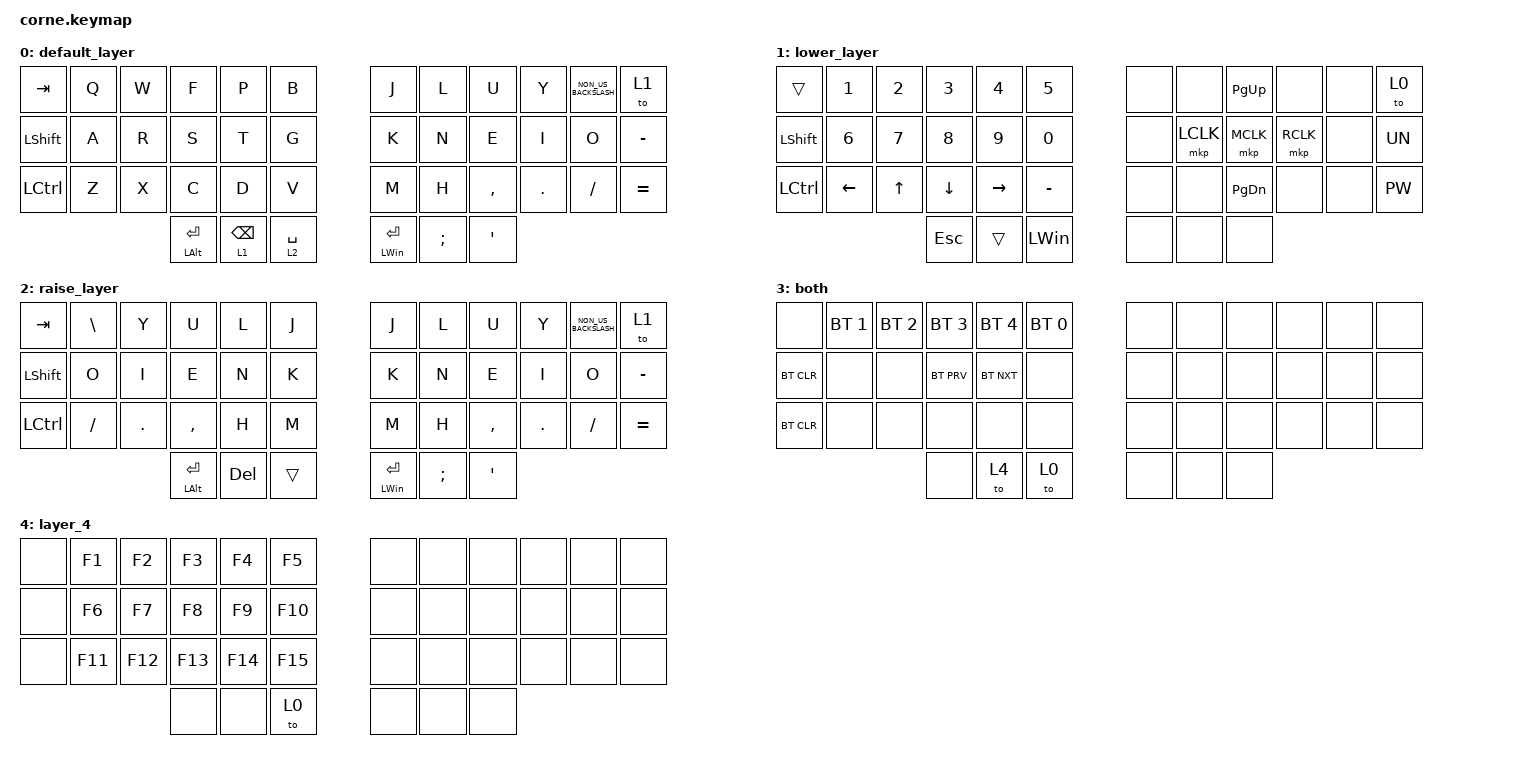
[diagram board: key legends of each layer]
/*
 * Copyright (c) 2020 The ZMK Contributors
 *
 * SPDX-License-Identifier: MIT
 */

#include <dt-bindings/zmk/mouse.h>
#include <behaviors.dtsi>
#include <dt-bindings/zmk/bt.h>
#include <dt-bindings/zmk/keys.h>
#include <dt-bindings/zmk/pointing.h>

/ {
    combos {
        compatible = "zmk,combos";

        both {
            bindings = <&tog 3>;
            key-positions = <38 0 5>;
        };

        semicolon {
            bindings = <&kp SEMI>;
            key-positions = <3 4 2>;
        };

        apro {
            bindings = <&kp APOS>;
            key-positions = <4 3 5>;
        };

        alt_tab {
            bindings = <&kp LA(TAB)>;
            key-positions = <14 15 16>;
        };

        p {
            bindings = <&p>;
            key-positions = <13 15 14>;
        };

        pw {
            bindings = <&PW>;
            key-positions = <25 26 27>;
        };

        adh {
            bindings = <&kp LG(L)>;
            key-positions = <26 27 28>;
        };

        QC_Check {
            bindings = <&QC>;
            key-positions = <1 2 3>;
        };

        esc {
            bindings = <&kp ESCAPE>;
            key-positions = <1 2 0>;
        };

        equals {
            bindings = <&kp EQUAL>;
            key-positions = <15 16 17>;
        };

        un {
            bindings = <&UN>;
            key-positions = <25 26 24>;
        };
    };

    macros {
        UN: UN {
            compatible = "zmk,behavior-macro";
            #binding-cells = <0>;
            bindings = <&kp A &kp N5 &kp N7 &kp N0 &kp N5 &kp N8 &kp N6>;
        };

        PW: PW {
            compatible = "zmk,behavior-macro";
            #binding-cells = <0>;
            bindings = <&kp NUMBER_2 &kp LS(T) &kp A &kp R &kp G &kp E &kp T &kp D &kp E &kp B &kp T &kp S &kp N2 &kp EXCL &kp NUMBER_3>;
        };

        HTML: HTML {
            compatible = "zmk,behavior-macro";
            #binding-cells = <0>;
            bindings = <&kp LS(H) &kp LS(T) &kp LS(M) &kp LS(L)>;
        };

        proof: proof {
            compatible = "zmk,behavior-macro";
            #binding-cells = <0>;
            bindings = <&kp P &kp R &kp O &kp O &kp F>;
        };

        adh: adh {
            compatible = "zmk,behavior-macro";
            #binding-cells = <0>;
            bindings = <&kp A &kp D &kp H &kp RET>;
        };

        span: span {
            compatible = "zmk,behavior-macro";
            #binding-cells = <0>;
            bindings = <&kp LT &kp S &kp P &kp A &kp N &kp SPACE &kp S &kp T &kp RET>;
        };

        p: p {
            compatible = "zmk,behavior-macro";
            #binding-cells = <0>;
            bindings = <&kp LT &kp P &kp GT>;
        };

        QC: QC {
            compatible = "zmk,behavior-macro";
            #binding-cells = <0>;
            bindings = <&kp LS(Q) &kp LS(C) &kp SPACE &kp LS(C) &kp H &kp E &kp C &kp K &kp L &kp I &kp S &kp T>;
        };
    };

    keymap {
        compatible = "zmk,keymap";

        default_layer {
            // -----------------------------------------------------------------------------------------
            // |  TAB |  Q  |  W  |  E  |  R  |  T  |   |  Y  |  U   |  I  |  O  |  P  | BKSP |
            // | CTRL |  A  |  S  |  D  |  F  |  G  |   |  H  |  J   |  K  |  L  |  ;  |  '   |
            // | SHFT |  Z  |  X  |  C  |  V  |  B  |   |  N  |  M   |  ,  |  .  |  /  | ESC  |
            //                    | GUI | LWR | SPC |   | ENT | RSE  | ALT |

            bindings = <
&kp TAB    &kp Q  &kp W  &kp F             &kp P            &kp B          &kp J         &kp L          &kp U      &kp Y    &kp NON_US_BACKSLASH  &to 1
&kp LSHFT  &kp A  &kp R  &kp S             &kp T            &kp G          &kp K         &kp N          &kp E      &kp I    &kp O                 &kp MINUS
&kp LCTRL  &kp Z  &kp X  &kp C             &kp D            &kp V          &kp M         &kp H          &kp COMMA  &kp DOT  &kp SLASH             &kp EQUAL
                         &mt LEFT_ALT RET  &lt 1 BACKSPACE  &lt 2 SPACE    &mt LWIN RET  &kp SEMICOLON  &kp SQT
            >;
        };

        lower_layer {
            // -----------------------------------------------------------------------------------------
            // |  &trans   |  &kp N1        | &kp N2       | &kp N3         | &kp N4          | &kp N5    |   | &none | &none | &none   | &none | &none | &tog 0 |
            // | &kp LSHFT | &kp N6         | &kp N7       | &kp N8         | &kp N9          | &kp N0    |   | &none | &mkp LCLK        | &mkp MCLK        | &mkp RCLK         | &none | &UN    |
            // | &kp LCTRL | &kp LEFT_ARROW | &kp UP_ARROW | &kp DOWN_ARROW | &kp RIGHT_ARROW | &kp MINUS |   | &none | &none            | &none| &none             | &none | &PW    |
            //                    | &kp ESCAPE | &kp DELETE | &trans |   | &none | &none | &none |

            bindings = <
&trans     &kp N1          &kp N2        &kp N3          &kp N4           &kp N5          &none  &none      &kp PAGE_UP    &none      &none  &to 0
&kp LSHFT  &kp NUMBER_6    &kp N7        &kp N8          &kp N9           &kp N0          &none  &mkp LCLK  &mkp MCLK      &mkp RCLK  &none  &UN
&kp LCTRL  &kp LEFT_ARROW  &kp UP_ARROW  &kp DOWN_ARROW  &kp RIGHT_ARROW  &kp MINUS       &none  &none      &kp PAGE_DOWN  &none      &none  &PW
                                         &kp ESCAPE      &trans           &kp LEFT_WIN    &none  &none      &none
            >;
        };

        raise_layer {
            bindings = <
&kp TAB    &kp BSLH  &kp Y    &kp U             &kp L       &kp J     &kp J         &kp L          &kp U      &kp Y    &kp NON_US_BACKSLASH  &to 1
&kp LSHFT  &kp O     &kp I    &kp E             &kp N       &kp K     &kp K         &kp N          &kp E      &kp I    &kp O                 &kp MINUS
&kp LCTRL  &kp FSLH  &kp DOT  &kp COMMA         &kp H       &kp M     &kp M         &kp H          &kp COMMA  &kp DOT  &kp SLASH             &kp EQUAL
                              &mt LEFT_ALT RET  &kp DELETE  &trans    &mt LWIN RET  &kp SEMICOLON  &kp SQT
            >;
        };

        both {
            bindings = <
&none       &bt BT_SEL 1  &bt BT_SEL 2  &bt BT_SEL 3  &bt BT_SEL 4  &bt BT_SEL 0    &none  &none  &none  &none  &none  &none
&bt BT_CLR  &none         &none         &bt BT_PRV    &bt BT_NXT    &none           &none  &none  &none  &none  &none  &none
&bt BT_CLR  &none         &none         &none         &none         &none           &none  &none  &none  &none  &none  &none
                                        &none         &to 4         &to 0           &none  &none  &none
            >;
        };

        layer_4 {
            bindings = <
&none  &kp F1   &kp F2   &kp F3   &kp F4   &kp F5     &none  &none  &none  &none  &none  &none
&none  &kp F6   &kp F7   &kp F8   &kp F9   &kp F10    &none  &none  &none  &none  &none  &none
&none  &kp F11  &kp F12  &kp F13  &kp F14  &kp F15    &none  &none  &none  &none  &none  &none
                         &none    &none    &to 0      &none  &none  &none
            >;
        };
    };
};
